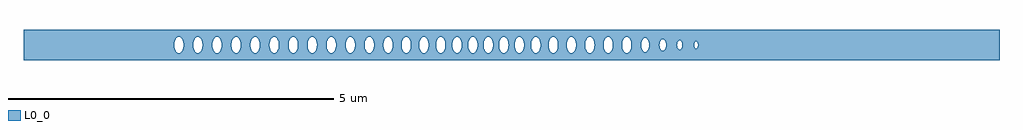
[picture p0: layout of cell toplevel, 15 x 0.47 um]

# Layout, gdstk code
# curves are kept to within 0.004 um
import gdstk
lib = gdstk.Library(unit=1e-6, precision=1e-09)
def P(c, l, *ps):  # polygons
    for p in ps: c.add(gdstk.Polygon(p, *l))
L0_0 = (0, 0)

toplevel = lib.new_cell('toplevel')
P(toplevel, L0_0, [(-4.561,-0.234),(-4.561,-0.112),(-4.582,-0.081),(-4.598,-0.016),(-4.596,0.032),(-4.587,0.068),(-4.561,0.112),(-4.561,0.234),(-7.5,0.234),(-7.5,-0.008),(-5.184,-0.008),(-5.179,0.047),(-5.161,0.093),(-5.138,0.119),(-5.111,0.128),(-5.085,0.119),(-5.062,0.093),(-5.044,0.047),(-5.039,-0.008),(-4.891,-0.008),(-4.888,0.039),(-4.868,0.093),(-4.845,0.119),(-4.819,0.128),(-4.792,0.119),(-4.769,0.093),(-4.751,0.047),(-4.746,0.008),(-4.751,-0.047),(-4.769,-0.093),(-4.792,-0.119),(-4.819,-0.128),(-4.845,-0.119),(-4.865,-0.098),(-4.88,-0.068),(-4.891,-0.008),(-5.039,-0.008),(-5.044,-0.047),(-5.062,-0.093),(-5.085,-0.119),(-5.111,-0.128),(-5.138,-0.119),(-5.158,-0.098),(-5.173,-0.068),(-5.184,-0.008),(-7.5,-0.008),(-7.5,-0.234)],
  [(-4.012,0.016),(-4.006,0.054),(-3.99,0.093),(-3.967,0.119),(-3.936,0.127),(-3.936,0.234),(-4.561,0.234),(-4.561,0.112),(-4.526,0.128),(-4.499,0.119),(-4.487,0.108),(-4.46,0.054),(-4.454,-0.016),(-4.305,-0.016),(-4.303,0.032),(-4.292,0.075),(-4.268,0.112),(-4.233,0.128),(-4.206,0.119),(-4.183,0.093),(-4.167,0.054),(-4.161,0.016),(-4.163,-0.032),(-4.174,-0.075),(-4.198,-0.112),(-4.233,-0.128),(-4.26,-0.119),(-4.283,-0.093),(-4.299,-0.054),(-4.305,-0.016),(-4.454,-0.016),(-4.467,-0.075),(-4.491,-0.112),(-4.526,-0.128),(-4.561,-0.112),(-4.561,-0.234),(-3.936,-0.234),(-3.936,-0.127),(-3.967,-0.119),(-3.99,-0.093),(-4.006,-0.054)],
  [(-3.936,0.234),(-3.936,0.127),(-3.905,0.112),(-3.887,0.087),(-3.871,0.039),(-3.868,-0.008),(-3.72,-0.008),(-3.715,0.047),(-3.697,0.093),(-3.674,0.119),(-3.647,0.128),(-3.621,0.119),(-3.601,0.098),(-3.586,0.068),(-3.575,0.008),(-3.578,-0.039),(-3.598,-0.093),(-3.621,-0.119),(-3.647,-0.128),(-3.674,-0.119),(-3.697,-0.093),(-3.715,-0.047),(-3.72,-0.008),(-3.868,-0.008),(-3.871,-0.039),(-3.887,-0.087),(-3.905,-0.112),(-3.936,-0.127),(-3.936,-0.234),(-3.286,-0.234),(-3.286,-0.041),(-3.296,-0.075),(-3.316,-0.108),(-3.341,-0.125),(-3.364,-0.126),(-3.381,-0.119),(-3.404,-0.093),(-3.422,-0.047),(-3.427,-0.008),(-3.425,0.032),(-3.413,0.075),(-3.393,0.108),(-3.368,0.125),(-3.341,0.125),(-3.316,0.108),(-3.296,0.075),(-3.286,0.039),(-3.286,0.234)],
  [(-2.539,-0.234),(-2.539,-0.061),(-2.548,-0.016),(-2.539,0.06),(-2.539,0.234),(-3.286,0.234),(-3.283,-0.016),(-3.134,-0.016),(-3.131,0.039),(-3.12,0.075),(-3.097,0.112),(-3.062,0.128),(-3.035,0.119),(-3.012,0.093),(-2.994,0.047),(-2.99,-0.016),(-2.841,-0.016),(-2.838,0.039),(-2.825,0.081),(-2.796,0.119),(-2.769,0.128),(-2.742,0.119),(-2.719,0.093),(-2.703,0.054),(-2.696,0),(-2.703,-0.054),(-2.719,-0.093),(-2.742,-0.119),(-2.769,-0.128),(-2.796,-0.119),(-2.815,-0.098),(-2.83,-0.068),(-2.841,-0.016),(-2.99,-0.016),(-2.994,-0.047),(-3.012,-0.093),(-3.035,-0.119),(-3.062,-0.128),(-3.088,-0.119),(-3.108,-0.098),(-3.123,-0.068),(-3.134,-0.016),(-3.283,-0.016),(-3.286,-0.234)],
  [(-1.969,0.016),(-1.963,0.054),(-1.947,0.093),(-1.924,0.119),(-1.897,0.128),(-1.897,0.234),(-2.539,0.234),(-2.539,0.061),(-2.526,0.093),(-2.503,0.119),(-2.476,0.128),(-2.462,0.125),(-2.437,0.108),(-2.417,0.075),(-2.407,0.039),(-2.404,-0.008),(-2.257,-0.008),(-2.252,0.047),(-2.234,0.093),(-2.211,0.119),(-2.184,0.128),(-2.158,0.119),(-2.138,0.098),(-2.123,0.068),(-2.112,0.008),(-2.117,-0.047),(-2.135,-0.093),(-2.158,-0.119),(-2.184,-0.128),(-2.211,-0.119),(-2.231,-0.098),(-2.246,-0.068),(-2.257,-0.008),(-2.404,-0.008),(-2.409,-0.047),(-2.426,-0.093),(-2.449,-0.119),(-2.476,-0.128),(-2.503,-0.119),(-2.515,-0.108),(-2.539,-0.062),(-2.539,-0.234),(-1.897,-0.234),(-1.897,-0.128),(-1.924,-0.119),(-1.947,-0.093),(-1.963,-0.054)],
  [(-1.897,0.234),(-1.897,0.128),(-1.87,0.119),(-1.844,0.087),(-1.828,0.039),(-1.825,-0.008),(-1.69,-0.008),(-1.685,0.047),(-1.667,0.093),(-1.644,0.119),(-1.617,0.128),(-1.591,0.119),(-1.571,0.098),(-1.556,0.068),(-1.545,0.008),(-1.55,-0.047),(-1.568,-0.093),(-1.591,-0.119),(-1.617,-0.128),(-1.644,-0.119),(-1.664,-0.098),(-1.679,-0.068),(-1.69,-0.008),(-1.825,-0.008),(-1.828,-0.039),(-1.844,-0.087),(-1.87,-0.119),(-1.897,-0.128),(-1.897,-0.234),(-1.289,-0.234),(-1.289,-0.075),(-1.308,-0.108),(-1.321,-0.119),(-1.347,-0.128),(-1.374,-0.119),(-1.406,-0.075),(-1.42,-0.008),(-1.415,0.047),(-1.406,0.075),(-1.374,0.119),(-1.347,0.128),(-1.321,0.119),(-1.308,0.108),(-1.289,0.075),(-1.289,0.234)],
  [(-1.277,-0.032),(-1.289,-0.075),(-1.289,-0.234),(-0.64,-0.234),(-0.64,-0.098),(-0.658,-0.061),(-0.667,-0.008),(-0.662,0.047),(-0.64,0.098),(-0.64,0.234),(-1.289,0.234),(-1.289,0.074),(-1.278,0.039),(-1.275,-0.008),(-1.16,-0.008),(-1.155,0.047),(-1.137,0.093),(-1.114,0.119),(-1.087,0.128),(-1.052,0.112),(-1.029,0.075),(-1.017,0.032),(-1.016,-0.016),(-0.909,-0.016),(-0.903,0.054),(-0.88,0.103),(-0.851,0.125),(-0.837,0.128),(-0.81,0.119),(-0.778,0.075),(-0.768,0.039),(-0.765,-0.016),(-0.771,-0.054),(-0.787,-0.093),(-0.802,-0.112),(-0.823,-0.125),(-0.851,-0.125),(-0.88,-0.103),(-0.896,-0.075),(-0.909,-0.016),(-1.016,-0.016),(-1.026,-0.068),(-1.041,-0.098),(-1.061,-0.119),(-1.087,-0.128),(-1.114,-0.119),(-1.134,-0.098),(-1.151,-0.061),(-1.16,-0.008),(-1.275,-0.008)],
  [(-0.19,0.016),(-0.18,0.068),(-0.165,0.098),(-0.145,0.119),(-0.123,0.127),(-0.123,0.234),(-0.64,0.234),(-0.64,0.098),(-0.621,0.119),(-0.594,0.128),(-0.559,0.112),(-0.533,0.068),(-0.524,0.032),(-0.522,-0.016),(-0.428,-0.016),(-0.425,0.039),(-0.412,0.081),(-0.391,0.112),(-0.356,0.128),(-0.329,0.119),(-0.306,0.093),(-0.29,0.054),(-0.283,0),(-0.29,-0.054),(-0.306,-0.093),(-0.329,-0.119),(-0.356,-0.128),(-0.382,-0.119),(-0.402,-0.098),(-0.417,-0.068),(-0.428,-0.016),(-0.522,-0.016),(-0.538,-0.081),(-0.568,-0.119),(-0.594,-0.128),(-0.608,-0.125),(-0.64,-0.098),(-0.64,-0.234),(-0.123,-0.234),(-0.123,-0.127),(-0.153,-0.112),(-0.177,-0.075),(-0.189,-0.032)],
  [(-0.114,0.127),(-0.084,0.112),(-0.06,0.075),(-0.048,0.032),(-0.047,-0.016),(0.05,-0.016),(0.053,0.039),(0.066,0.081),(0.087,0.112),(0.122,0.128),(0.149,0.119),(0.172,0.093),(0.188,0.054),(0.195,0),(0.188,-0.054),(0.172,-0.093),(0.149,-0.119),(0.122,-0.128),(0.096,-0.119),(0.076,-0.098),(0.061,-0.068),(0.05,-0.016),(-0.047,-0.016),(-0.057,-0.068),(-0.072,-0.098),(-0.092,-0.119),(-0.123,-0.127),(-0.123,-0.234),(0.413,-0.234),(0.413,-0.108),(0.401,-0.119),(0.374,-0.128),(0.339,-0.112),(0.318,-0.081),(0.302,-0.016),(0.307,0.047),(0.318,0.081),(0.335,0.108),(0.374,0.128),(0.401,0.119),(0.413,0.108),(0.413,0.234),(-0.123,0.234),(-0.123,0.127)],
  [(1.132,0.016),(1.142,0.067),(1.142,0.234),(0.413,0.234),(0.413,0.108),(0.442,0.047),(0.446,-0.016),(0.57,-0.016),(0.572,0.032),(0.583,0.075),(0.607,0.112),(0.642,0.128),(0.669,0.119),(0.692,0.093),(0.711,0.039),(0.714,-0.016),(0.849,-0.016),(0.851,0.032),(0.862,0.075),(0.886,0.112),(0.921,0.128),(0.948,0.119),(0.971,0.093),(0.993,0.016),(0.991,-0.032),(0.98,-0.075),(0.956,-0.112),(0.921,-0.128),(0.894,-0.119),(0.871,-0.093),(0.855,-0.054),(0.849,-0.016),(0.714,-0.016),(0.692,-0.093),(0.669,-0.119),(0.642,-0.128),(0.615,-0.119),(0.592,-0.093),(0.576,-0.054),(0.57,-0.016),(0.446,-0.016),(0.433,-0.075),(0.413,-0.108),(0.413,-0.234),(1.142,-0.234),(1.142,-0.068),(1.132,-0.024)],
  [(1.7,0.016),(1.704,0.047),(1.722,0.093),(1.745,0.119),(1.763,0.126),(1.763,0.234),(1.142,0.234),(1.142,0.068),(1.157,0.098),(1.177,0.119),(1.204,0.128),(1.23,0.119),(1.25,0.098),(1.265,0.068),(1.275,0.024),(1.275,-0.016),(1.414,-0.016),(1.417,0.039),(1.43,0.081),(1.459,0.119),(1.486,0.128),(1.513,0.119),(1.536,0.093),(1.552,0.054),(1.559,0),(1.552,-0.054),(1.536,-0.093),(1.513,-0.119),(1.486,-0.128),(1.459,-0.119),(1.44,-0.098),(1.425,-0.068),(1.414,-0.016),(1.275,-0.016),(1.265,-0.068),(1.25,-0.098),(1.23,-0.119),(1.204,-0.128),(1.169,-0.112),(1.142,-0.068),(1.142,-0.234),(1.763,-0.234),(1.763,-0.126),(1.733,-0.108),(1.713,-0.075),(1.701,-0.032)],
  [(1.772,0.128),(1.798,0.119),(1.821,0.093),(1.839,0.047),(1.844,-0.007),(1.992,-0.007),(1.995,0.034),(2.009,0.075),(2.028,0.099),(2.055,0.11),(2.085,0.096),(2.1,0.075),(2.114,0.034),(2.117,-0.007),(2.111,-0.047),(2.097,-0.08),(2.077,-0.102),(2.055,-0.11),(2.032,-0.102),(2.012,-0.08),(1.998,-0.047),(1.992,-0.007),(1.844,-0.007),(1.839,-0.047),(1.818,-0.098),(1.798,-0.119),(1.763,-0.126),(1.763,-0.234),(2.361,-0.234),(2.361,-0.067),(2.339,-0.089),(2.313,-0.089),(2.29,-0.067),(2.274,-0.011),(2.28,0.044),(2.304,0.083),(2.332,0.091),(2.348,0.083),(2.361,0.067),(2.361,0.234),(1.763,0.234),(1.763,0.126)],
  [(2.377,-0.011),(2.361,-0.067),(2.361,-0.234),(7.5,-0.234),(7.5,0.234),(2.361,0.234),(2.361,0.067),(2.373,0.039),(2.378,-0.005),(2.543,-0.005),(2.545,0.023),(2.556,0.054),(2.582,0.074),(2.603,0.067),(2.614,0.054),(2.625,0.023),(2.627,-0.007),(2.805,-0.007),(2.812,0.036),(2.835,0.056),(2.857,0.043),(2.868,0.01),(2.864,-0.03),(2.843,-0.055),(2.831,-0.055),(2.818,-0.045),(2.805,-0.007),(2.627,-0.007),(2.614,-0.054),(2.588,-0.074),(2.567,-0.067),(2.556,-0.054),(2.543,-0.005),(2.378,-0.005)])

lib.write_gds('toplevel.gds')
